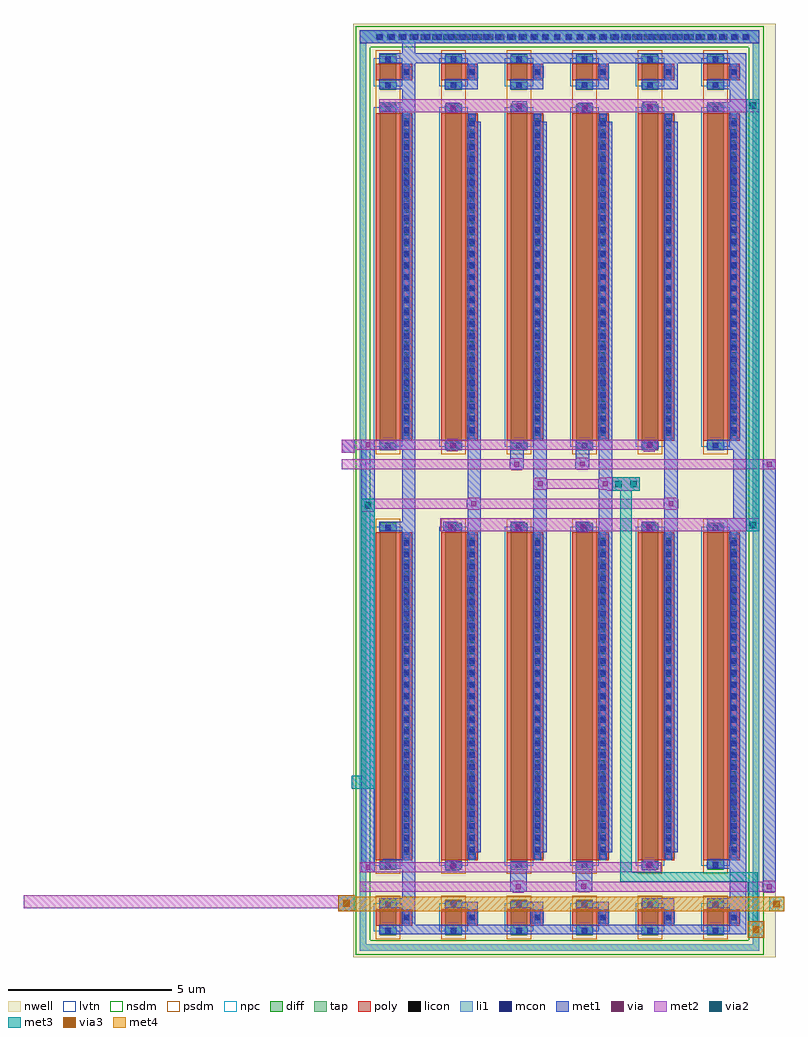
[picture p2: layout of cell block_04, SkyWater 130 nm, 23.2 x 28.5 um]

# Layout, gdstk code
from math import pi, radians
import gdstk
lib = gdstk.Library(unit=1e-6, precision=1e-09)
def R(c, l, rs):  # rectangles x0, y0, x1, y1
    for r in rs: c.add(gdstk.rectangle(r[:2], r[2:], *l))
def A(c, l, x, y, w, h, nx, ny, dx, dy):  # array of equal rectangles
    R(c, l, [(x+i*dx, y+j*dy, x+i*dx+w, y+j*dy+h) for i in range(nx) for j in range(ny)])
nwell = (64, 20)
diff = (65, 20)
tap = (65, 44)
poly = (66, 20)
licon = (66, 44)
li1 = (67, 20)
mcon = (67, 44)
met1 = (68, 20)
via = (68, 44)
met2 = (69, 20)
via2 = (69, 44)
met3 = (70, 20)
via3 = (70, 44)
met4 = (71, 20)
nsdm = (93, 44)
psdm = (94, 20)
npc = (95, 20)
lvtn = (125, 44)

sky130_fd_pr__pfet_01v8_ = lib.new_cell('sky130_fd_pr__pfet_01v8_lvt_LHHU6U')
R(sky130_fd_pr__pfet_01v8_, nwell, [(-0.72,-0.74,0.72,0.57)])
R(sky130_fd_pr__pfet_01v8_, diff, [(-0.54,-0.43,0.54,0.07)])
R(sky130_fd_pr__pfet_01v8_, poly, [(-0.25,-0.56,0.25,0.555)])
R(sky130_fd_pr__pfet_01v8_, licon, [(-0.48,-0.265,-0.31,-0.095), (0.31,-0.265,0.48,-0.095), (-0.085,0.305,0.085,0.475)])
R(sky130_fd_pr__pfet_01v8_, li1, [(-0.48,-0.45,-0.31,0.09), (0.31,-0.45,0.48,0.09), (-0.25,0.305,0.25,0.475)])
R(sky130_fd_pr__pfet_01v8_, mcon, [(-0.48,-0.265,-0.31,-0.095), (0.31,-0.265,0.48,-0.095), (-0.085,0.305,0.085,0.475)])
R(sky130_fd_pr__pfet_01v8_, met1, [(-0.51,-0.43,-0.28,0.07), (0.28,-0.43,0.51,0.07), (-0.23,0.275,0.23,0.505)])
R(sky130_fd_pr__pfet_01v8_, psdm, [(-0.665,-0.555,0.665,0.195)])
R(sky130_fd_pr__pfet_01v8_, npc, [(-0.185,0.205,0.185,0.575)])
R(sky130_fd_pr__pfet_01v8_, lvtn, [(-0.43,-0.61,0.43,0.25)])

c_sky130_fd_pr__pfet_01v8_ = lib.new_cell('sky130_fd_pr__pfet_01v8_lvt_W2HEQA')
R(c_sky130_fd_pr__pfet_01v8_, nwell, [(-5.47,-0.74,5.47,0.57)])
R(c_sky130_fd_pr__pfet_01v8_, diff, [(-5.29,-0.43,5.29,0.07)])
R(c_sky130_fd_pr__pfet_01v8_, poly, [(-5,-0.56,5,0.555)])
A(c_sky130_fd_pr__pfet_01v8_, licon, -4.845, 0.305, 0.17, 0.17, 29, 1, 0.34, 0)
R(c_sky130_fd_pr__pfet_01v8_, licon, [(-5.23,-0.265,-5.06,-0.095), (5.06,-0.265,5.23,-0.095)])
R(c_sky130_fd_pr__pfet_01v8_, li1, [(-5.23,-0.45,-5.06,0.09), (5.06,-0.45,5.23,0.09), (-5,0.305,5,0.475)])
A(c_sky130_fd_pr__pfet_01v8_, mcon, -4.765, 0.305, 0.17, 0.17, 27, 1, 0.36, 0)
R(c_sky130_fd_pr__pfet_01v8_, mcon, [(-5.23,-0.265,-5.06,-0.095), (5.06,-0.265,5.23,-0.095)])
R(c_sky130_fd_pr__pfet_01v8_, met1, [(-5.26,-0.43,-5.03,0.07), (5.03,-0.43,5.26,0.07), (-4.98,0.275,4.98,0.505)])
R(c_sky130_fd_pr__pfet_01v8_, psdm, [(-5.415,-0.555,5.415,0.195)])
R(c_sky130_fd_pr__pfet_01v8_, npc, [(-4.945,0.205,4.945,0.575)])
R(c_sky130_fd_pr__pfet_01v8_, lvtn, [(-5.18,-0.61,5.18,0.25)])

block_04 = lib.new_cell('block_04')
R(block_04, nwell, [(-2.5,-14.3,10.4,14.2)])
R(block_04, tap, [(-2.3,-14.1,9.9,-13.9), (-2.3,-13.9,-2.1,13.6), (9.7,-13.9,9.9,13.6), (-2.3,13.6,9.9,14)])
A(block_04, licon, -1.795, 13.715, 0.17, 0.17, 34, 1, 0.34, 0)
R(block_04, li1, [(-2.3,-14.1,9.9,-13.9), (-2.3,-13.9,-2.1,13.6), (9.7,-13.9,9.9,13.6), (-2.3,13.6,9.9,14)])
A(block_04, mcon, -1.765, 13.715, 0.17, 0.17, 32, 1, 0.36, 0)
A(block_04, met1, 0.3, -12.8, 1, 0.2, 3, 1, 2, 0)
A(block_04, met1, 0.3, 12.2, 1, 0.3, 3, 1, 2, 0)
A(block_04, met1, 1, 12.5, 0.3, 0.5, 3, 1, 2, 0)
R(block_04, met1, [(-1.7,-13.6,9.5,-13.3), (-1,-13.3,-0.6,-12.8), (1,-13.3,1.3,-12.8), (2.9,-13.3,3.3,-12.8), (5,-13.3,5.3,-12.8), (7,-13.3,7.3,-12.8), (9,-13.3,9.5,-12.8), (-1.7,-12.8,-0.6,-12.5), (6.3,-12.8,7.3,-12.5), (8.3,-12.8,9.5,-12.5), (-1,-12.5,-0.6,-11.6), (9,-12.5,9.5,-11.6), (2.3,-12.3,2.8,-11.4), (4.3,-12.3,4.8,-11.4), (10,-12.3,10.4,-12.275), (9.98,-12.275,10.4,-12.01), (10,-12.01,10.4,0.9), (-2.25,-11.7,-1.85,1.5), (0.31,-11.65,0.74,-11.385), (6.305,-11.64,6.735,-11.375), (-1.6,-11.6,-0.6,-11.3), (8.3,-11.6,9.5,-11.3), (-1,-11.3,-0.6,-1.3), (9,-11.3,9.5,-10.9), (1,-11.1,1.4,-0.58), (3,-11.1,3.4,0.02), (5,-11.1,5.4,0.025), (7,-11.1,7.4,-0.585), (9.1,-10.9,9.5,-1.6), (9,-1.6,9.5,-1.3), (-1.7,-1.3,-0.6,-1), (8.3,-1.3,9.5,-0.9), (4.29,-1.275,4.72,-1.01), (0.255,-1.265,0.685,-1), (2.305,-1.265,2.735,-1), (6.3,-1.265,6.73,-1), (-1,-1,-0.6,1.2), (9.1,-0.9,9.5,1.2), (6.985,-0.585,7.415,-0.32), (0.965,-0.58,1.4,-0.315), (7,-0.32,7.4,11.2), (1,-0.315,1.4,11.2), (2.99,0.02,3.42,0.285), (4.975,0.025,5.405,0.29), (3,0.285,3.4,11.2), (5,0.29,5.4,11.2), (2.3,0.6,2.7,0.62), (4.3,0.6,4.7,0.63), (2.28,0.62,2.71,0.885), (4.28,0.63,4.71,0.895), (2.3,0.885,2.7,1.5), (4.3,0.895,4.7,1.5), (-2.85,1.1,-2.45,1.5), (6.32,1.18,6.75,1.445), (0.31,1.195,0.74,1.46), (-1.7,1.2,-0.6,1.5), (8.3,1.2,9.5,1.5), (-1,1.5,-0.6,11.5), (9.1,1.5,9.5,11), (9,11,9.5,11.5), (-1.7,11.5,-0.6,11.8), (8.3,11.5,9.5,11.8), (4.365,11.515,4.795,11.78), (0.32,11.525,0.75,11.79), (6.34,11.555,6.77,11.82), (2.36,11.565,2.79,11.83), (-1,11.8,-0.6,12.2), (9,11.8,9.5,12.2), (-1.7,12.2,-0.6,12.5), (6.3,12.2,7.4,12.5), (8.3,12.2,9.5,12.5), (-1,12.5,-0.6,13), (7,12.5,7.4,13), (9,12.5,9.5,13), (-1.7,13,9.5,13.3), (-1,13.3,-0.6,13.6), (-2.3,13.6,9.9,14)])
R(block_04, via, [(2.465,-12.22,2.615,-12.07), (10.12,-12.22,10.27,-12.07), (4.46,-12.205,4.61,-12.055), (-2.125,-11.625,-1.975,-11.475), (0.45,-11.595,0.6,-11.445), (6.445,-11.585,6.595,-11.435), (4.43,-1.22,4.58,-1.07), (0.395,-1.21,0.545,-1.06), (2.445,-1.21,2.595,-1.06), (6.44,-1.21,6.59,-1.06), (7.125,-0.53,7.275,-0.38), (1.105,-0.525,1.255,-0.375), (3.13,0.075,3.28,0.225), (5.115,0.08,5.265,0.23), (2.42,0.675,2.57,0.825), (10.125,0.675,10.275,0.825), (4.42,0.685,4.57,0.835), (6.46,1.235,6.61,1.385), (0.45,1.25,0.6,1.4), (-2.125,1.275,-1.975,1.425), (4.505,11.57,4.655,11.72), (0.46,11.58,0.61,11.73), (6.48,11.61,6.63,11.76), (2.5,11.62,2.65,11.77)])
R(block_04, met2, [(-2.95,-12.9,-2.45,-12.8), (-12.55,-12.8,-2.45,-12.4), (2.375,-12.325,2.705,-12.3), (10.03,-12.325,10.36,-12.3), (4.37,-12.31,4.7,-12.3), (-2.3,-12.3,10.4,-12), (2.375,-12,2.705,-11.96), (4.37,-12,4.7,-11.945), (10.03,-12,10.36,-11.96), (-2.3,-11.7,6.9,-11.4), (0.36,-11.4,0.69,-11.335), (6.355,-11.4,6.685,-11.325), (4.34,-1.325,4.67,-1.3), (0.305,-1.315,0.635,-1.3), (2.355,-1.315,2.685,-1.3), (6.35,-1.315,6.68,-1.3), (0.15,-1.3,9.9,-0.9), (-2.25,-0.7,-1.85,-0.6), (7.035,-0.635,7.365,-0.6), (1.015,-0.63,1.345,-0.6), (-2.25,-0.6,7.4,-0.3), (1.015,-0.3,1.345,-0.265), (7.035,-0.3,7.365,-0.27), (5.25,-0.05,6.25,-0.025), (3.04,-0.03,3.37,0), (5.025,-0.025,6.25,0), (3,0,6.25,0.3), (3.04,0.3,3.37,0.335), (5.025,0.3,6.25,0.34), (5.25,0.34,6.25,0.35), (2.33,0.57,2.66,0.6), (4.33,0.58,4.66,0.6), (-2.85,0.6,10.4,0.9), (2.33,0.9,2.66,0.935), (4.33,0.9,4.66,0.945), (-2.85,1.1,-2.45,1.2), (6.37,1.13,6.7,1.2), (0.36,1.145,0.69,1.2), (-2.85,1.2,6.8,1.5), (0.36,1.5,0.69,1.51), (4.415,11.465,4.745,11.5), (0.37,11.475,0.7,11.5), (-1.7,11.5,9.9,11.9)])
R(block_04, via2, [(-2.8,-12.75,-2.6,-12.55), (9.6,-1.2,9.8,-1), (-2.15,-0.6,-1.95,-0.4), (5.5,0.05,5.7,0.25), (5.95,0.05,6.15,0.25), (9.6,11.6,9.8,11.8)])
R(block_04, met3, [(9.55,-13.7,10.05,-13.2), (9.55,-13.2,9.85,-12), (-2.95,-12.9,-2.45,-12.4), (10.2,-12.9,10.65,-12.45), (5.65,-12,9.85,-11.7), (5.65,-11.7,6,-0.05), (-2.55,-9.15,-1.85,-8.75), (-2.25,-8.75,-1.85,-0.3), (9.5,-1.3,9.9,11.9), (5.4,-0.05,6.25,0.35)])
R(block_04, via3, [(9.7,-13.55,9.9,-13.35), (10.325,-12.775,10.525,-12.575), (-2.8,-12.75,-2.6,-12.55)])
R(block_04, met4, [(9.55,-13.7,10.05,-13.2), (-2.95,-12.9,10.65,-12.45), (-2.95,-12.45,-2.45,-12.4)])
R(block_04, nsdm, [(-2.425,-14.225,10.025,-13.775), (-2.425,-13.775,-1.975,13.475), (9.575,-13.775,10.025,13.475), (-2.425,13.475,10.025,14.125)])
A(block_04, psdm, -1.815, 11.885, 0.75, 0.17, 6, 1, 2, 0)
block_04.add(gdstk.Reference(sky130_fd_pr__pfet_01v8_, (-1.26,-13.08), rotation=3*pi/2))
block_04.add(gdstk.Reference(c_sky130_fd_pr__pfet_01v8_, (-1.26,-6.33), rotation=3*pi/2))
block_04.add(gdstk.Reference(sky130_fd_pr__pfet_01v8_, (0.74,-13.08), rotation=3*pi/2))
block_04.add(gdstk.Reference(c_sky130_fd_pr__pfet_01v8_, (0.74,-6.33), rotation=3*pi/2))
block_04.add(gdstk.Reference(sky130_fd_pr__pfet_01v8_, (2.74,-13.08), rotation=3*pi/2))
block_04.add(gdstk.Reference(c_sky130_fd_pr__pfet_01v8_, (2.74,-6.33), rotation=3*pi/2))
block_04.add(gdstk.Reference(sky130_fd_pr__pfet_01v8_, (4.74,-13.08), rotation=3*pi/2))
block_04.add(gdstk.Reference(c_sky130_fd_pr__pfet_01v8_, (4.74,-6.33), rotation=3*pi/2))
block_04.add(gdstk.Reference(sky130_fd_pr__pfet_01v8_, (6.74,-13.08), rotation=3*pi/2))
block_04.add(gdstk.Reference(c_sky130_fd_pr__pfet_01v8_, (6.74,-6.33), rotation=3*pi/2))
block_04.add(gdstk.Reference(sky130_fd_pr__pfet_01v8_, (8.74,-13.08), rotation=3*pi/2))
block_04.add(gdstk.Reference(c_sky130_fd_pr__pfet_01v8_, (8.74,-6.33), rotation=3*pi/2))
block_04.add(gdstk.Reference(c_sky130_fd_pr__pfet_01v8_, (-1.26,6.47), rotation=3*pi/2))
block_04.add(gdstk.Reference(c_sky130_fd_pr__pfet_01v8_, (0.74,6.47), rotation=3*pi/2))
block_04.add(gdstk.Reference(c_sky130_fd_pr__pfet_01v8_, (2.74,6.47), rotation=3*pi/2))
block_04.add(gdstk.Reference(c_sky130_fd_pr__pfet_01v8_, (4.74,6.47), rotation=3*pi/2))
block_04.add(gdstk.Reference(c_sky130_fd_pr__pfet_01v8_, (6.74,6.47), rotation=3*pi/2))
block_04.add(gdstk.Reference(c_sky130_fd_pr__pfet_01v8_, (8.74,6.47), rotation=3*pi/2))
block_04.add(gdstk.Reference(sky130_fd_pr__pfet_01v8_, (-1.26,12.72), rotation=3*pi/2))
block_04.add(gdstk.Reference(sky130_fd_pr__pfet_01v8_, (0.74,12.72), rotation=3*pi/2))
block_04.add(gdstk.Reference(sky130_fd_pr__pfet_01v8_, (2.74,12.72), rotation=3*pi/2))
block_04.add(gdstk.Reference(sky130_fd_pr__pfet_01v8_, (4.74,12.72), rotation=3*pi/2))
block_04.add(gdstk.Reference(sky130_fd_pr__pfet_01v8_, (6.74,12.72), rotation=3*pi/2))
block_04.add(gdstk.Reference(sky130_fd_pr__pfet_01v8_, (8.74,12.72), rotation=3*pi/2))

lib.write_gds('block_04.gds')
